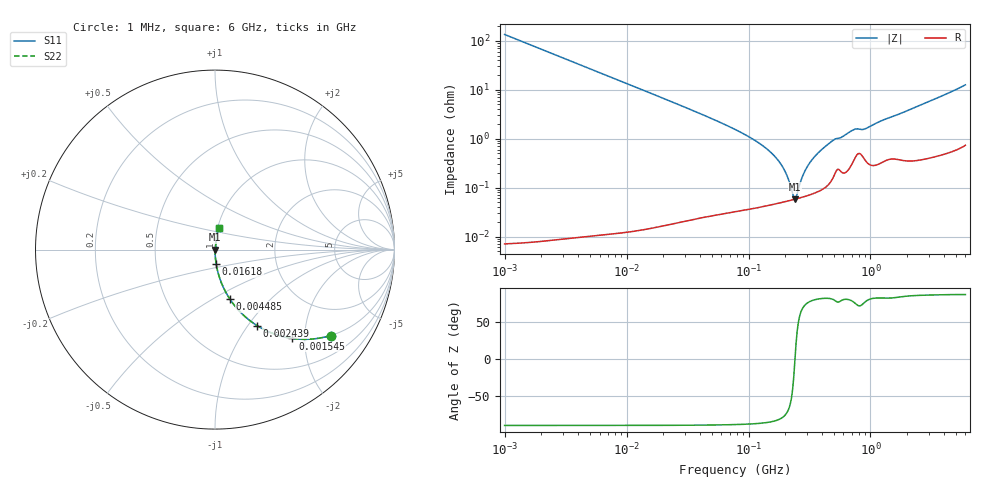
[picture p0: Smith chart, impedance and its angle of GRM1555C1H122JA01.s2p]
!Murata Part Number: GRM1555C1H122JA01
!These Parameters are Measured in Series Mode Connection
!Data Generated on Mar 30, 2021
!  o--ll--o
!Port1  Port2
!  o------o
!Operation Temp=25[degC], DC Bias Voltage=0[V]
!Freq. Start=1000[kHz] Stop=6[GHz] 401[Steps]
# Hz S RI R 50
!Freq.(Hz) S11(Real) S11(Imag) S21(Real) S21(Imag) S12(Real) S12(Imag) S22(Real) S22(Imag)
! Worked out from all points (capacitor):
!   401 points, 1 MHz to 6 GHz, reference 50 ohm
!   read as one part in series: C = 1.18 nF near 1.044 MHz
!   lowest |Z| = 58 mohm at 240 MHz (marker M1)
!   series resonance near 240.5 MHz, so ESL is about 370 pH
!   S11 on the Smith chart (normalised r, x): 1 MHz: 1.00, -2.69; 1.545 MHz: 1.00, -1.74; 2.439 MHz: 1.00, -1.10; 4.485 MHz: 1.00, -0.60; 16.18 MHz: 1.00, -0.17; 6 GHz: 1.01, +0.25
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1000000  0.6444 -0.4787  0.3556 0.4787  0.3556 0.4787  0.6444 -0.4787
1544926  0.4316 -0.4953  0.5684 0.4953  0.5684 0.4953  0.4316 -0.4953
2439274  0.2335 -0.423  0.7665 0.423  0.7665 0.423  0.2335 -0.423
4293785  0.0895 -0.2853  0.9105 0.2853  0.9105 0.2853  0.0895 -0.2853
4484676  0.0827 -0.2752  0.9173 0.2752  0.9173 0.2752  0.0827 -0.2752
1.618111e7  0.00694 -0.0821  0.9931 0.0821  0.9931 0.0821  0.00694 -0.0821
1.843659e7  0.00538 -0.0721  0.9946 0.0721  0.9946 0.0721  0.00538 -0.0721
7.745967e7  0.000559 -0.0155  0.9994 0.0155  0.9994 0.0155  0.000559 -0.0155
1.223006e8  0.00046 -0.00807  0.9995 0.00807  0.9995 0.00807  0.00046 -0.00807
1.658303e8  0.000482 -0.0042  0.9995 0.0042  0.9995 0.0042  0.000482 -0.0042
1.973453e8  0.000518 -0.0022  0.9995 0.0022  0.9995 0.0022  0.000518 -0.0022
2.106508e8  0.000536 -0.00147  0.9995 0.00147  0.9995 0.00147  0.000536 -0.00147
2.297971e8  0.000563 -0.000502  0.9994 0.000502  0.9994 0.000502  0.000563 -0.000502
2.400133e8  0.000579 -2.1e-05  0.9994 2.1e-05  0.9994 2.1e-05  0.000579 -2.1e-05
2.506837e8  0.000596 0.00046  0.9994 -0.00046  0.9994 -0.00046  0.000596 0.00046
2.856264e8  0.000657 0.00192  0.9993 -0.00192  0.9993 -0.00192  0.000657 0.00192
3.325952e8  0.000753 0.00367  0.9992 -0.00367  0.9992 -0.00367  0.000753 0.00367
5.027802e8  0.00184 0.00934  0.9982 -0.00934  0.9982 -0.00934  0.00184 0.00934
7.276953e8  0.00375 0.0147  0.9962 -0.0147  0.9962 -0.0147  0.00375 0.0147
9.044891e8  0.00384 0.0153  0.9962 -0.0153  0.9962 -0.0153  0.00384 0.0153
1.428092e9  0.00447 0.0264  0.9955 -0.0264  0.9955 -0.0264  0.00447 0.0264
6e9  0.0225 0.122  0.9775 -0.122  0.9775 -0.122  0.0225 0.122
